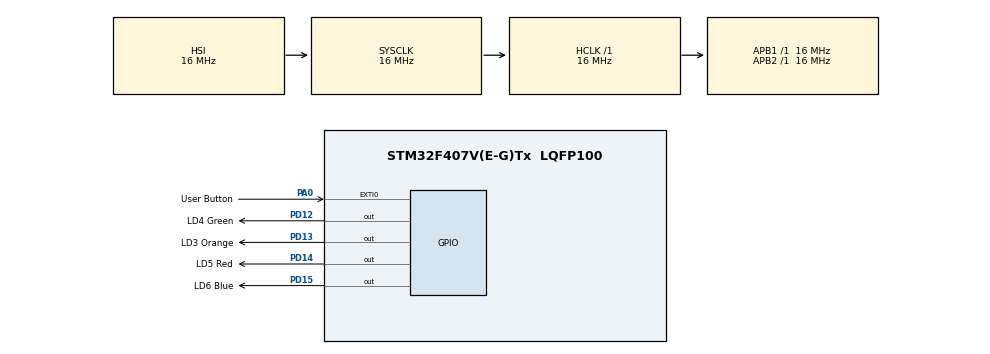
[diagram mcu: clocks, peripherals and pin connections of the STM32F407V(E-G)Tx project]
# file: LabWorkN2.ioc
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Mcu.Family=STM32F4
Mcu.Name=STM32F407V(E-G)Tx
Mcu.Package=LQFP100
NVIC.EXTI0_IRQn=true\:0\:0\:false\:false\:true\:true\:true\:true
NVIC.PriorityGroup=NVIC_PRIORITYGROUP_4
PA0-WKUP.GPIO_Label=User Button
PA0-WKUP.Signal=GPXTI0
PD12.GPIO_Label=LD4 Green
PD12.Signal=GPIO_Output
PD13.GPIO_Label=LD3 Orange
PD13.Signal=GPIO_Output
PD14.GPIO_Label=LD5 Red
PD14.Signal=GPIO_Output
PD15.GPIO_Label=LD6 Blue
PD15.Signal=GPIO_Output
ProjectManager.HeapSize=0x200
ProjectManager.StackSize=0x400
ProjectManager.TargetToolchain=STM32CubeIDE
RCC.AHBFreq_Value=16000000
RCC.APB1Freq_Value=16000000
RCC.APB2Freq_Value=16000000
RCC.CortexFreq_Value=16000000
RCC.HSE_VALUE=25000000
RCC.HSI_VALUE=16000000
RCC.LSE_VALUE=32768
RCC.SYSCLKFreq_VALUE=16000000
RCC.VCOOutputFreq_Value=192000000
board=custom

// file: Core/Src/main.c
/* USER CODE BEGIN Header */
/**
  ******************************************************************************
  * @file           : main.c
  * @brief          : Main program body
  ******************************************************************************
  * @attention
  *
  * Copyright (c) 2025 STMicroelectronics.
  * All rights reserved.
  *
  * This software is licensed under terms that can be found in the LICENSE file
  * in the root directory of this software component.
  * If no LICENSE file comes with this software, it is provided AS-IS.
  *
  ******************************************************************************
  */
/* USER CODE END Header */
#include "main.h"

void SystemClock_Config(void);
static void MX_GPIO_Init(void);

/* USER CODE BEGIN 0 */
unsigned short counter = 0;

void RunningPairs(unsigned int delay_ms) {
	uint16_t Led_adresses[] = {0x2000,	0x4000,	0x8000,	0x1000,	0x2000};
	//						   Orange	Red		Blue	Green	Orange

	HAL_GPIO_WritePin(GPIOD, Led_adresses[3], GPIO_PIN_RESET);
	HAL_GPIO_WritePin(GPIOD, Led_adresses[0], GPIO_PIN_SET);
	HAL_GPIO_WritePin(GPIOD, Led_adresses[1], GPIO_PIN_SET);
	HAL_Delay(delay_ms);

	for (unsigned int i = 1; i <= 3; i++) {
		HAL_GPIO_WritePin(GPIOD, Led_adresses[i-1], GPIO_PIN_RESET);
		HAL_GPIO_WritePin(GPIOD, Led_adresses[i+1], GPIO_PIN_SET);
		HAL_Delay(delay_ms);
	}
}

void CrossBlink(unsigned int delay_ms) {
	HAL_GPIO_WritePin(LD3_Orange_GPIO_Port, LD3_Orange_Pin, GPIO_PIN_SET);
	HAL_GPIO_WritePin(LD6_Blue_GPIO_Port, LD6_Blue_Pin, GPIO_PIN_SET);
	HAL_GPIO_WritePin(LD5_Red_GPIO_Port, LD5_Red_Pin, GPIO_PIN_RESET);
	HAL_GPIO_WritePin(LD4_Green_GPIO_Port, LD4_Green_Pin, GPIO_PIN_RESET);

	HAL_Delay(delay_ms);

	HAL_GPIO_WritePin(LD3_Orange_GPIO_Port, LD3_Orange_Pin, GPIO_PIN_RESET);
	HAL_GPIO_WritePin(LD6_Blue_GPIO_Port, LD6_Blue_Pin, GPIO_PIN_RESET);
	HAL_GPIO_WritePin(LD5_Red_GPIO_Port, LD5_Red_Pin, GPIO_PIN_SET);
	HAL_GPIO_WritePin(LD4_Green_GPIO_Port, LD4_Green_Pin, GPIO_PIN_SET);

	HAL_Delay(delay_ms);
}

void PingPong(unsigned int delay_ms) {
	uint16_t Led_adresses[] = {0x2000,	0x4000,	0x8000,	0x1000};
	//						   Orange	Red		Blue	Green

	//Going clockwise
	HAL_GPIO_WritePin(LD3_Orange_GPIO_Port, LD3_Orange_Pin, GPIO_PIN_SET);
	HAL_Delay(delay_ms);
	for (unsigned short i = 1; i <= 3; i++) {
		HAL_GPIO_WritePin(GPIOD, Led_adresses[i-1], GPIO_PIN_RESET);
		//HAL_Delay(delay_ms);
		HAL_GPIO_WritePin(GPIOD, Led_adresses[i], GPIO_PIN_SET);
		HAL_Delay(delay_ms);
	}
	// Going counter-clockwise
	for (unsigned short i = 3; i >= 2; i--) {
		HAL_GPIO_TogglePin(GPIOD, Led_adresses[i]);
		HAL_GPIO_WritePin(GPIOD, Led_adresses[i-1], GPIO_PIN_SET);
		HAL_Delay(delay_ms);
	}
	HAL_GPIO_WritePin(LD5_Red_GPIO_Port, LD5_Red_Pin, GPIO_PIN_RESET);
}

void AllBlink(unsigned int delay_ms) {
	HAL_GPIO_WritePin(LD3_Orange_GPIO_Port, LD3_Orange_Pin, GPIO_PIN_SET);
	HAL_GPIO_WritePin(LD5_Red_GPIO_Port, LD5_Red_Pin, GPIO_PIN_SET);
	HAL_GPIO_WritePin(LD6_Blue_GPIO_Port, LD6_Blue_Pin, GPIO_PIN_SET);
	HAL_GPIO_WritePin(LD4_Green_GPIO_Port, LD4_Green_Pin, GPIO_PIN_SET);

	HAL_Delay(delay_ms);

	HAL_GPIO_WritePin(LD3_Orange_GPIO_Port, LD3_Orange_Pin, GPIO_PIN_RESET);
	HAL_GPIO_WritePin(LD5_Red_GPIO_Port, LD5_Red_Pin, GPIO_PIN_RESET);
	HAL_GPIO_WritePin(LD6_Blue_GPIO_Port, LD6_Blue_Pin, GPIO_PIN_RESET);
	HAL_GPIO_WritePin(LD4_Green_GPIO_Port, LD4_Green_Pin, GPIO_PIN_RESET);

	HAL_Delay(delay_ms);

}
/* USER CODE END 0 */

int main(void)
{

  /* MCU Configuration--------------------------------------------------------*/

  /* Reset of all peripherals, Initializes the Flash interface and the Systick. */
  HAL_Init();

  /* Configure the system clock */
  SystemClock_Config();

  /* Initialize all configured peripherals */
  MX_GPIO_Init();
  /* USER CODE BEGIN 2 */
  HAL_Delay(2000);
  /* USER CODE END 2 */

  /* Infinite loop */
  while (1)
  {
	  switch(counter % 4) {
		case 0:
			RunningPairs(250);
			break;
		case 1:
			CrossBlink(250);
			break;
		case 2:
			PingPong(100);
			break;
		case 3:
			AllBlink(250);
			break;
	  }
  }
}

void SystemClock_Config(void)
{
  RCC_OscInitTypeDef RCC_OscInitStruct = {0};
  RCC_ClkInitTypeDef RCC_ClkInitStruct = {0};

  /** Configure the main internal regulator output voltage
  */
  __HAL_RCC_PWR_CLK_ENABLE();
  __HAL_PWR_VOLTAGESCALING_CONFIG(PWR_REGULATOR_VOLTAGE_SCALE1);

  /** Initializes the RCC Oscillators according to the specified parameters
  * in the RCC_OscInitTypeDef structure.
  */
  RCC_OscInitStruct.OscillatorType = RCC_OSCILLATORTYPE_HSI;
  RCC_OscInitStruct.HSIState = RCC_HSI_ON;
  RCC_OscInitStruct.HSICalibrationValue = RCC_HSICALIBRATION_DEFAULT;
  RCC_OscInitStruct.PLL.PLLState = RCC_PLL_NONE;
  if (HAL_RCC_OscConfig(&RCC_OscInitStruct) != HAL_OK)
  {
    Error_Handler();
  }

  /** Initializes the CPU, AHB and APB buses clocks
  */
  RCC_ClkInitStruct.ClockType = RCC_CLOCKTYPE_HCLK|RCC_CLOCKTYPE_SYSCLK
                              |RCC_CLOCKTYPE_PCLK1|RCC_CLOCKTYPE_PCLK2;
  RCC_ClkInitStruct.SYSCLKSource = RCC_SYSCLKSOURCE_HSI;
  RCC_ClkInitStruct.AHBCLKDivider = RCC_SYSCLK_DIV1;
  RCC_ClkInitStruct.APB1CLKDivider = RCC_HCLK_DIV1;
  RCC_ClkInitStruct.APB2CLKDivider = RCC_HCLK_DIV1;

  if (HAL_RCC_ClockConfig(&RCC_ClkInitStruct, FLASH_LATENCY_0) != HAL_OK)
  {
    Error_Handler();
  }
}

static void MX_GPIO_Init(void)
{
  GPIO_InitTypeDef GPIO_InitStruct = {0};

  /* GPIO Ports Clock Enable */
  __HAL_RCC_GPIOA_CLK_ENABLE();
  __HAL_RCC_GPIOD_CLK_ENABLE();

  /*Configure GPIO pin Output Level */
  HAL_GPIO_WritePin(GPIOD, LD4_Green_Pin|LD3_Orange_Pin|LD5_Red_Pin|LD6_Blue_Pin, GPIO_PIN_RESET);

  /*Configure GPIO pin : User_Button_Pin */
  GPIO_InitStruct.Pin = User_Button_Pin;
  GPIO_InitStruct.Mode = GPIO_MODE_IT_RISING;
  GPIO_InitStruct.Pull = GPIO_NOPULL;
  HAL_GPIO_Init(User_Button_GPIO_Port, &GPIO_InitStruct);

  /*Configure GPIO pins : LD4_Green_Pin LD3_Orange_Pin LD5_Red_Pin LD6_Blue_Pin */
  GPIO_InitStruct.Pin = LD4_Green_Pin|LD3_Orange_Pin|LD5_Red_Pin|LD6_Blue_Pin;
  GPIO_InitStruct.Mode = GPIO_MODE_OUTPUT_PP;
  GPIO_InitStruct.Pull = GPIO_NOPULL;
  GPIO_InitStruct.Speed = GPIO_SPEED_FREQ_LOW;
  HAL_GPIO_Init(GPIOD, &GPIO_InitStruct);

  /* EXTI interrupt init*/
  HAL_NVIC_SetPriority(EXTI0_IRQn, 0, 0);
  HAL_NVIC_EnableIRQ(EXTI0_IRQn);

}

void Error_Handler(void)
{
  __disable_irq();
  while (1)
  {
  }
}
